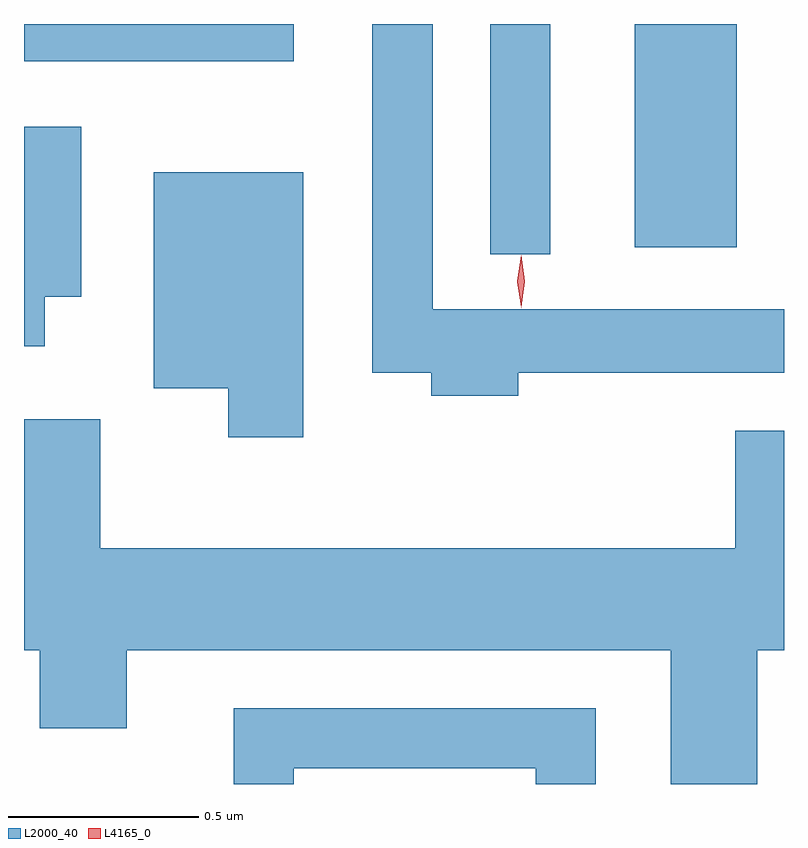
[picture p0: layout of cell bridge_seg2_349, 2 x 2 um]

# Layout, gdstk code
import gdstk
lib = gdstk.Library(unit=1e-6, precision=1e-09)
def R(c, l, rs):  # rectangles x0, y0, x1, y1
    for r in rs: c.add(gdstk.rectangle(r[:2], r[2:], *l))
def P(c, l, *ps):  # polygons
    for p in ps: c.add(gdstk.Polygon(p, *l))
L2000_40 = (2000, 40)
L4165_0 = (4165, 0)

bridge_seg2_349 = lib.new_cell('bridge_seg2_349')
R(bridge_seg2_349, L2000_40, [(408.386,1024.938,408.544,1025.544), (408.766,1024.956,409.034,1025.544), (407.159,1025.446,407.869,1025.544)])
P(bridge_seg2_349, L2000_40, [(408.459,1024.626),(409.159,1024.626),(409.159,1024.794),(408.234,1024.794),(408.234,1025.544),(408.076,1025.544),(408.076,1024.626),(408.231,1024.626),(408.231,1024.566),(408.459,1024.566)],
  [(407.214,1024.826),(407.309,1024.826),(407.309,1025.274),(407.159,1025.274),(407.159,1024.696),(407.214,1024.696)],
  [(407.894,1025.154),(407.501,1025.154),(407.501,1024.586),(407.696,1024.586),(407.696,1024.456),(407.894,1024.456)],
  [(409.089,1023.896),(409.159,1023.896),(409.159,1024.474),(409.031,1024.474),(409.031,1024.164),(407.359,1024.164),(407.359,1024.504),(407.159,1024.504),(407.159,1023.896),(407.201,1023.896),(407.201,1023.691),(407.429,1023.691),(407.429,1023.896),(408.861,1023.896),(408.861,1023.544),(409.089,1023.544)],
  [(407.869,1023.586),(408.506,1023.586),(408.506,1023.544),(408.664,1023.544),(408.664,1023.744),(407.711,1023.744),(407.711,1023.544),(407.869,1023.544)])
P(bridge_seg2_349, L4165_0, [(408.467,1024.797),(408.467,1024.798),(408.457,1024.867),(408.467,1024.936),(408.467,1024.936),(408.468,1024.936),(408.477,1024.867),(408.468,1024.798)],
  [(408.467,1024.8),(408.467,1024.8),(408.457,1024.866),(408.467,1024.933),(408.467,1024.933),(408.468,1024.933),(408.477,1024.866),(408.468,1024.8)])

lib.write_gds('bridge_seg2_349.gds')
